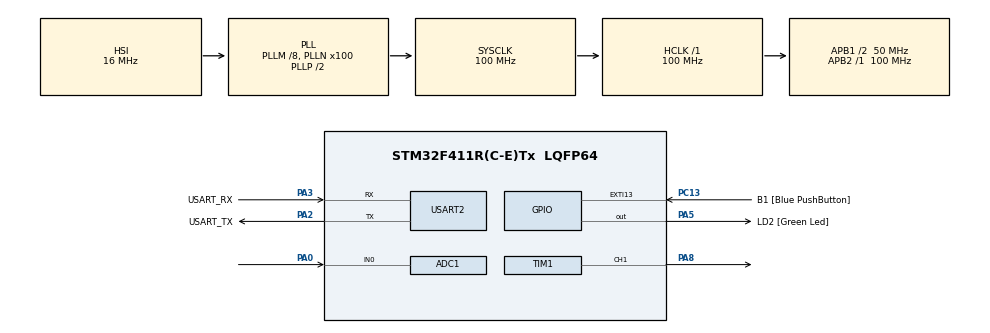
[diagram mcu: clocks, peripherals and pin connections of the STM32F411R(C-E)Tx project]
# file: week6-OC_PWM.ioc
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ADC1.Channel-0\#ChannelRegularConversion=ADC_CHANNEL_0
ADC1.ExternalTrigConv=ADC_EXTERNALTRIGCONV_T3_TRGO
ADC1.NbrOfConversionFlag=1
ADC1.Rank-0\#ChannelRegularConversion=1
ADC1.SamplingTime-0\#ChannelRegularConversion=ADC_SAMPLETIME_3CYCLES
ADC1.master=1
Mcu.Family=STM32F4
Mcu.Name=STM32F411R(C-E)Tx
Mcu.Package=LQFP64
NVIC.ADC_IRQn=true\:0\:0\:false\:false\:true\:true\:true
NVIC.PriorityGroup=NVIC_PRIORITYGROUP_0
NVIC.TIM1_TRG_COM_TIM11_IRQn=true\:0\:0\:false\:false\:true\:true\:true
PA0-WKUP.Signal=ADCx_IN0
PA13.GPIO_Label=TMS
PA13.Mode=Serial_Wire
PA13.Signal=SYS_JTMS-SWDIO
PA14.GPIO_Label=TCK
PA14.Mode=Serial_Wire
PA14.Signal=SYS_JTCK-SWCLK
PA2.GPIO_Label=USART_TX
PA2.Mode=Asynchronous
PA2.Signal=USART2_TX
PA3.GPIO_Label=USART_RX
PA3.Mode=Asynchronous
PA3.Signal=USART2_RX
PA5.GPIO_Label=LD2 [Green Led]
PA5.Signal=GPIO_Output
PA8.Signal=S_TIM1_CH1
PB3.GPIO_Label=SWO
PB3.Signal=SYS_JTDO-SWO
PC13-ANTI_TAMP.GPIO_Label=B1 [Blue PushButton]
PC13-ANTI_TAMP.GPIO_ModeDefaultEXTI=GPIO_MODE_IT_FALLING
PC13-ANTI_TAMP.Signal=GPXTI13
PC14-OSC32_IN.Mode=LSE-External-Oscillator
PC14-OSC32_IN.Signal=RCC_OSC32_IN
PC15-OSC32_OUT.Mode=LSE-External-Oscillator
PC15-OSC32_OUT.Signal=RCC_OSC32_OUT
PH0\ -\ OSC_IN.Mode=HSE-External-Clock-Source
PH0\ -\ OSC_IN.Signal=RCC_OSC_IN
PH1\ -\ OSC_OUT.Mode=HSE-External-Clock-Source
PH1\ -\ OSC_OUT.Signal=RCC_OSC_OUT
ProjectManager.HeapSize=0x200
ProjectManager.StackSize=0x400
ProjectManager.TargetToolchain=STM32CubeIDE
RCC.48MHZClocksFreq_Value=50000000
RCC.AHBFreq_Value=100000000
RCC.APB1CLKDivider=RCC_HCLK_DIV2
RCC.APB1Freq_Value=50000000
RCC.APB1TimFreq_Value=100000000
RCC.APB2Freq_Value=100000000
RCC.APB2TimFreq_Value=100000000
RCC.CortexFreq_Value=100000000
RCC.FLatency-AdvancedSettings=FLASH_LATENCY_3
RCC.HCLKFreq_Value=100000000
RCC.HSE_VALUE=8000000
RCC.HSI_VALUE=16000000
RCC.PLLM=8
RCC.PLLN=100
RCC.SYSCLKFreq_VALUE=100000000
RCC.SYSCLKSource=RCC_SYSCLKSOURCE_PLLCLK
RCC.VCOOutputFreq_Value=200000000
SH.ADCx_IN0.0=ADC1_IN0,IN0
SH.S_TIM1_CH1.0=TIM1_CH1,PWM Generation1 CH1
TIM1.Channel-PWM\ Generation1\ CH1=TIM_CHANNEL_1
TIM1.Period=10000
TIM11.Prescaler=99
TIM3.Period=1000
TIM3.Prescaler=99
TIM3.TIM_MasterOutputTrigger=TIM_TRGO_UPDATE
USART2.VirtualMode=VM_ASYNC
VP_TIM11_VS_ClockSourceINT.Mode=Enable_Timer
VP_TIM1_VS_ClockSourceINT.Mode=Internal
VP_TIM3_VS_ClockSourceINT.Mode=Internal
board=NUCLEO-F411RE

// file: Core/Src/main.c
/* USER CODE BEGIN Header */
/**
 ******************************************************************************
 * @file           : main.c
 * @brief          : Main program body
 ******************************************************************************
 * @attention
 *
 * <h2><center>&copy; Copyright (c) 2021 STMicroelectronics.
 * All rights reserved.</center></h2>
 *
 * This software component is licensed by ST under BSD 3-Clause license,
 * the "License"; You may not use this file except in compliance with the
 * License. You may obtain a copy of the License at:
 *                        opensource.org/licenses/BSD-3-Clause
 *
 ******************************************************************************
 */
/* USER CODE END Header */
#include "main.h"

ADC_HandleTypeDef hadc1;

TIM_HandleTypeDef htim1;
TIM_HandleTypeDef htim3;
TIM_HandleTypeDef htim11;

UART_HandleTypeDef huart2;

/* USER CODE BEGIN PV */

uint8_t ADCUpdateFlag = 0;
uint16_t ADCFeedBack = 0;
float ADCOutput = 0;
uint16_t PWMOut = 3000;
float Resistor = 0;

uint64_t _micro = 0;
uint64_t TimeOutputLoop = 0;
void PWM_Control();
/* USER CODE END PV */

void SystemClock_Config(void);
static void MX_GPIO_Init(void);
static void MX_USART2_UART_Init(void);
static void MX_ADC1_Init(void);
static void MX_TIM1_Init(void);
static void MX_TIM3_Init(void);
static void MX_TIM11_Init(void);
/* USER CODE BEGIN PFP */
uint64_t micros();
/* USER CODE END PFP */

int main(void)
{

  /* MCU Configuration--------------------------------------------------------*/

  /* Reset of all peripherals, Initializes the Flash interface and the Systick. */
  HAL_Init();

  /* Configure the system clock */
  SystemClock_Config();

  /* Initialize all configured peripherals */
  MX_GPIO_Init();
  MX_USART2_UART_Init();
  MX_ADC1_Init();
  MX_TIM1_Init();
  MX_TIM3_Init();
  MX_TIM11_Init();
  /* USER CODE BEGIN 2 */
	HAL_ADC_Start_IT(&hadc1);
	HAL_TIM_Base_Start(&htim3);

	HAL_TIM_Base_Start(&htim1);
	HAL_TIM_PWM_Start(&htim1, TIM_CHANNEL_1);

	HAL_TIM_Base_Start_IT(&htim11);

  /* USER CODE END 2 */

  /* Infinite loop */
	while (1) {

    /* USER CODE BEGIN 3 */

		//1 Khz Loop
		if (micros() - TimeOutputLoop > 1000) {
			TimeOutputLoop = micros();
			// #001
			PWM_Control();
			__HAL_TIM_SET_COMPARE(&htim1, TIM_CHANNEL_1, PWMOut);

		}

//		if (ADCUpdateFlag) {
//			ADCUpdateFlag = 0;
//
//			//#002
//		}

	}
  /* USER CODE END 3 */
}

void SystemClock_Config(void)
{
  RCC_OscInitTypeDef RCC_OscInitStruct = {0};
  RCC_ClkInitTypeDef RCC_ClkInitStruct = {0};

  /** Configure the main internal regulator output voltage
  */
  __HAL_RCC_PWR_CLK_ENABLE();
  __HAL_PWR_VOLTAGESCALING_CONFIG(PWR_REGULATOR_VOLTAGE_SCALE1);
  /** Initializes the RCC Oscillators according to the specified parameters
  * in the RCC_OscInitTypeDef structure.
  */
  RCC_OscInitStruct.OscillatorType = RCC_OSCILLATORTYPE_HSI;
  RCC_OscInitStruct.HSIState = RCC_HSI_ON;
  RCC_OscInitStruct.HSICalibrationValue = RCC_HSICALIBRATION_DEFAULT;
  RCC_OscInitStruct.PLL.PLLState = RCC_PLL_ON;
  RCC_OscInitStruct.PLL.PLLSource = RCC_PLLSOURCE_HSI;
  RCC_OscInitStruct.PLL.PLLM = 8;
  RCC_OscInitStruct.PLL.PLLN = 100;
  RCC_OscInitStruct.PLL.PLLP = RCC_PLLP_DIV2;
  RCC_OscInitStruct.PLL.PLLQ = 4;
  if (HAL_RCC_OscConfig(&RCC_OscInitStruct) != HAL_OK)
  {
    Error_Handler();
  }
  /** Initializes the CPU, AHB and APB buses clocks
  */
  RCC_ClkInitStruct.ClockType = RCC_CLOCKTYPE_HCLK|RCC_CLOCKTYPE_SYSCLK
                              |RCC_CLOCKTYPE_PCLK1|RCC_CLOCKTYPE_PCLK2;
  RCC_ClkInitStruct.SYSCLKSource = RCC_SYSCLKSOURCE_PLLCLK;
  RCC_ClkInitStruct.AHBCLKDivider = RCC_SYSCLK_DIV1;
  RCC_ClkInitStruct.APB1CLKDivider = RCC_HCLK_DIV2;
  RCC_ClkInitStruct.APB2CLKDivider = RCC_HCLK_DIV1;

  if (HAL_RCC_ClockConfig(&RCC_ClkInitStruct, FLASH_LATENCY_3) != HAL_OK)
  {
    Error_Handler();
  }
}

static void MX_ADC1_Init(void)
{

  ADC_ChannelConfTypeDef sConfig = {0};

  /** Configure the global features of the ADC (Clock, Resolution, Data Alignment and number of conversion)
  */
  hadc1.Instance = ADC1;
  hadc1.Init.ClockPrescaler = ADC_CLOCK_SYNC_PCLK_DIV4;
  hadc1.Init.Resolution = ADC_RESOLUTION_12B;
  hadc1.Init.ScanConvMode = DISABLE;
  hadc1.Init.ContinuousConvMode = DISABLE;
  hadc1.Init.DiscontinuousConvMode = DISABLE;
  hadc1.Init.ExternalTrigConvEdge = ADC_EXTERNALTRIGCONVEDGE_RISING;
  hadc1.Init.ExternalTrigConv = ADC_EXTERNALTRIGCONV_T3_TRGO;
  hadc1.Init.DataAlign = ADC_DATAALIGN_RIGHT;
  hadc1.Init.NbrOfConversion = 1;
  hadc1.Init.DMAContinuousRequests = DISABLE;
  hadc1.Init.EOCSelection = ADC_EOC_SINGLE_CONV;
  if (HAL_ADC_Init(&hadc1) != HAL_OK)
  {
    Error_Handler();
  }
  /** Configure for the selected ADC regular channel its corresponding rank in the sequencer and its sample time.
  */
  sConfig.Channel = ADC_CHANNEL_0;
  sConfig.Rank = 1;
  sConfig.SamplingTime = ADC_SAMPLETIME_3CYCLES;
  if (HAL_ADC_ConfigChannel(&hadc1, &sConfig) != HAL_OK)
  {
    Error_Handler();
  }

}

static void MX_TIM1_Init(void)
{

  TIM_ClockConfigTypeDef sClockSourceConfig = {0};
  TIM_MasterConfigTypeDef sMasterConfig = {0};
  TIM_OC_InitTypeDef sConfigOC = {0};
  TIM_BreakDeadTimeConfigTypeDef sBreakDeadTimeConfig = {0};

  htim1.Instance = TIM1;
  htim1.Init.Prescaler = 0;
  htim1.Init.CounterMode = TIM_COUNTERMODE_UP;
  htim1.Init.Period = 10000;
  htim1.Init.ClockDivision = TIM_CLOCKDIVISION_DIV1;
  htim1.Init.RepetitionCounter = 0;
  htim1.Init.AutoReloadPreload = TIM_AUTORELOAD_PRELOAD_DISABLE;
  if (HAL_TIM_Base_Init(&htim1) != HAL_OK)
  {
    Error_Handler();
  }
  sClockSourceConfig.ClockSource = TIM_CLOCKSOURCE_INTERNAL;
  if (HAL_TIM_ConfigClockSource(&htim1, &sClockSourceConfig) != HAL_OK)
  {
    Error_Handler();
  }
  if (HAL_TIM_PWM_Init(&htim1) != HAL_OK)
  {
    Error_Handler();
  }
  sMasterConfig.MasterOutputTrigger = TIM_TRGO_RESET;
  sMasterConfig.MasterSlaveMode = TIM_MASTERSLAVEMODE_DISABLE;
  if (HAL_TIMEx_MasterConfigSynchronization(&htim1, &sMasterConfig) != HAL_OK)
  {
    Error_Handler();
  }
  sConfigOC.OCMode = TIM_OCMODE_PWM1;
  sConfigOC.Pulse = 0;
  sConfigOC.OCPolarity = TIM_OCPOLARITY_HIGH;
  sConfigOC.OCNPolarity = TIM_OCNPOLARITY_HIGH;
  sConfigOC.OCFastMode = TIM_OCFAST_DISABLE;
  sConfigOC.OCIdleState = TIM_OCIDLESTATE_RESET;
  sConfigOC.OCNIdleState = TIM_OCNIDLESTATE_RESET;
  if (HAL_TIM_PWM_ConfigChannel(&htim1, &sConfigOC, TIM_CHANNEL_1) != HAL_OK)
  {
    Error_Handler();
  }
  sBreakDeadTimeConfig.OffStateRunMode = TIM_OSSR_DISABLE;
  sBreakDeadTimeConfig.OffStateIDLEMode = TIM_OSSI_DISABLE;
  sBreakDeadTimeConfig.LockLevel = TIM_LOCKLEVEL_OFF;
  sBreakDeadTimeConfig.DeadTime = 0;
  sBreakDeadTimeConfig.BreakState = TIM_BREAK_DISABLE;
  sBreakDeadTimeConfig.BreakPolarity = TIM_BREAKPOLARITY_HIGH;
  sBreakDeadTimeConfig.AutomaticOutput = TIM_AUTOMATICOUTPUT_DISABLE;
  if (HAL_TIMEx_ConfigBreakDeadTime(&htim1, &sBreakDeadTimeConfig) != HAL_OK)
  {
    Error_Handler();
  }
  HAL_TIM_MspPostInit(&htim1);

}

static void MX_TIM3_Init(void)
{

  TIM_ClockConfigTypeDef sClockSourceConfig = {0};
  TIM_MasterConfigTypeDef sMasterConfig = {0};

  htim3.Instance = TIM3;
  htim3.Init.Prescaler = 99;
  htim3.Init.CounterMode = TIM_COUNTERMODE_UP;
  htim3.Init.Period = 1000;
  htim3.Init.ClockDivision = TIM_CLOCKDIVISION_DIV1;
  htim3.Init.AutoReloadPreload = TIM_AUTORELOAD_PRELOAD_DISABLE;
  if (HAL_TIM_Base_Init(&htim3) != HAL_OK)
  {
    Error_Handler();
  }
  sClockSourceConfig.ClockSource = TIM_CLOCKSOURCE_INTERNAL;
  if (HAL_TIM_ConfigClockSource(&htim3, &sClockSourceConfig) != HAL_OK)
  {
    Error_Handler();
  }
  sMasterConfig.MasterOutputTrigger = TIM_TRGO_UPDATE;
  sMasterConfig.MasterSlaveMode = TIM_MASTERSLAVEMODE_DISABLE;
  if (HAL_TIMEx_MasterConfigSynchronization(&htim3, &sMasterConfig) != HAL_OK)
  {
    Error_Handler();
  }

}

static void MX_TIM11_Init(void)
{

  htim11.Instance = TIM11;
  htim11.Init.Prescaler = 99;
  htim11.Init.CounterMode = TIM_COUNTERMODE_UP;
  htim11.Init.Period = 65535;
  htim11.Init.ClockDivision = TIM_CLOCKDIVISION_DIV1;
  htim11.Init.AutoReloadPreload = TIM_AUTORELOAD_PRELOAD_DISABLE;
  if (HAL_TIM_Base_Init(&htim11) != HAL_OK)
  {
    Error_Handler();
  }

}

static void MX_USART2_UART_Init(void)
{

  huart2.Instance = USART2;
  huart2.Init.BaudRate = 115200;
  huart2.Init.WordLength = UART_WORDLENGTH_8B;
  huart2.Init.StopBits = UART_STOPBITS_1;
  huart2.Init.Parity = UART_PARITY_NONE;
  huart2.Init.Mode = UART_MODE_TX_RX;
  huart2.Init.HwFlowCtl = UART_HWCONTROL_NONE;
  huart2.Init.OverSampling = UART_OVERSAMPLING_16;
  if (HAL_UART_Init(&huart2) != HAL_OK)
  {
    Error_Handler();
  }

}

static void MX_GPIO_Init(void)
{
  GPIO_InitTypeDef GPIO_InitStruct = {0};

  /* GPIO Ports Clock Enable */
  __HAL_RCC_GPIOC_CLK_ENABLE();
  __HAL_RCC_GPIOH_CLK_ENABLE();
  __HAL_RCC_GPIOA_CLK_ENABLE();
  __HAL_RCC_GPIOB_CLK_ENABLE();

  /*Configure GPIO pin Output Level */
  HAL_GPIO_WritePin(LD2_GPIO_Port, LD2_Pin, GPIO_PIN_RESET);

  /*Configure GPIO pin : B1_Pin */
  GPIO_InitStruct.Pin = B1_Pin;
  GPIO_InitStruct.Mode = GPIO_MODE_IT_FALLING;
  GPIO_InitStruct.Pull = GPIO_NOPULL;
  HAL_GPIO_Init(B1_GPIO_Port, &GPIO_InitStruct);

  /*Configure GPIO pin : LD2_Pin */
  GPIO_InitStruct.Pin = LD2_Pin;
  GPIO_InitStruct.Mode = GPIO_MODE_OUTPUT_PP;
  GPIO_InitStruct.Pull = GPIO_NOPULL;
  GPIO_InitStruct.Speed = GPIO_SPEED_FREQ_LOW;
  HAL_GPIO_Init(LD2_GPIO_Port, &GPIO_InitStruct);

}

/* USER CODE BEGIN 4 */

void HAL_ADC_ConvCpltCallback(ADC_HandleTypeDef *hadc) {
	ADCFeedBack = HAL_ADC_GetValue(&hadc1);
	ADCUpdateFlag = 1;
}
void HAL_TIM_PeriodElapsedCallback(TIM_HandleTypeDef *htim) {
	if (htim == &htim11) {
		_micro += 65535;
	}
}

__inline__ uint64_t micros() {
	return _micro + htim11.Instance->CNT;
}

void PWM_Control(){
	ADCOutput = (ADCFeedBack /4096.0) * 3.3*1000; //mV
	Resistor = 100 0*((3.3*PWMOut/10000)-(ADCOutput/1000))/(ADCOutput/1000);
	PWMOut = (1000+Resistor)/33 * 100;
	if(PWMOut > 10000)
	{
		PWMOut = 10000;
	}
}

/* USER CODE END 4 */

void Error_Handler(void)
{
	__disable_irq();
	while (1) {
	}
}

/************************ (C) COPYRIGHT STMicroelectronics *****END OF FILE****/
